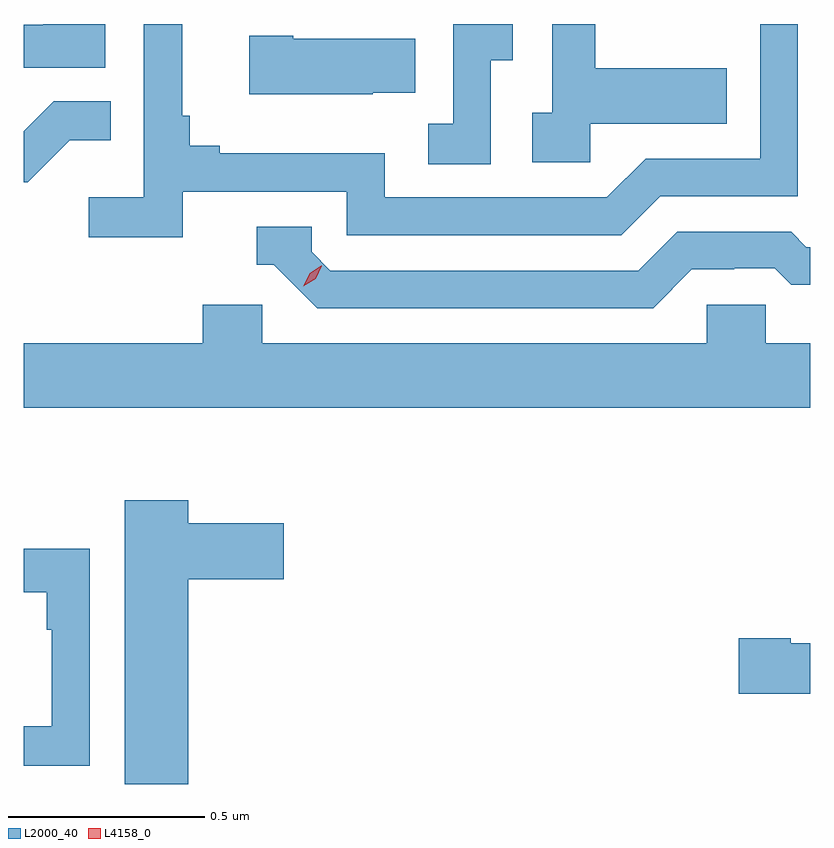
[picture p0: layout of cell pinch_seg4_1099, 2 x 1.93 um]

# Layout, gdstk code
import gdstk
lib = gdstk.Library(unit=1e-6, precision=1e-09)
def P(c, l, *ps):  # polygons
    for p in ps: c.add(gdstk.Polygon(p, *l))
L2000_40 = (2000, 40)
L4158_0 = (4158, 0)

pinch_seg4_1099 = lib.new_cell('pinch_seg4_1099')
P(pinch_seg4_1099, L2000_40, [(841.492,765.828),(841.334,765.828),(841.334,765.826),(841.284,765.826),(841.284,765.717),(841.492,765.717)],
  [(842.724,765.575),(843.071,765.575),(843.071,765.715),(842.737,765.715),(842.737,765.828),(842.628,765.828),(842.628,765.602),(842.577,765.602),(842.577,765.477),(842.724,765.477)],
  [(841.688,765.402),(842.106,765.402),(842.106,765.291),(842.803,765.291),(842.902,765.39),(843.252,765.39),(843.252,765.828),(843.156,765.828),(843.156,765.486),(842.865,765.486),(842.766,765.387),(842.202,765.387),(842.202,765.499),(841.783,765.499),(841.783,765.518),(841.706,765.518),(841.706,765.595),(841.687,765.595),(841.687,765.828),(841.59,765.828),(841.59,765.388),(841.449,765.388),(841.449,765.286),(841.688,765.286)],
  [(842.472,765.736),(842.527,765.736),(842.527,765.828),(842.376,765.828),(842.376,765.575),(842.313,765.575),(842.313,765.472),(842.472,765.472)],
  [(842.171,765.653),(842.279,765.653),(842.279,765.79),(841.969,765.79),(841.969,765.798),(841.857,765.798),(841.857,765.65),(842.171,765.65)],
  [(841.401,765.533),(841.505,765.533),(841.505,765.632),(841.361,765.632),(841.284,765.555),(841.284,765.426),(841.294,765.426)],
  [(842.983,765.204),(843.09,765.204),(843.09,765.207),(843.193,765.207),(843.235,765.165),(843.284,765.165),(843.284,765.261),(843.274,765.261),(843.235,765.3),(842.946,765.3),(842.847,765.201),(842.064,765.201),(842.016,765.249),(842.016,765.312),(841.877,765.312),(841.877,765.216),(841.92,765.216),(842.031,765.105),(842.884,765.105)],
  [(843.284,765.016),(843.171,765.016),(843.171,765.114),(843.021,765.114),(843.021,765.016),(841.89,765.016),(841.89,765.114),(841.739,765.114),(841.739,765.016),(841.284,765.016),(841.284,764.852),(843.284,764.852)],
  [(841.702,764.417),(841.945,764.417),(841.945,764.559),(841.702,764.559),(841.702,764.617),(841.541,764.617),(841.541,763.896),(841.702,763.896)],
  [(841.452,764.494),(841.284,764.494),(841.284,764.384),(841.343,764.384),(841.343,764.288),(841.356,764.288),(841.356,764.043),(841.284,764.043),(841.284,763.942),(841.452,763.942)],
  [(843.284,764.254),(843.234,764.254),(843.234,764.267),(843.102,764.267),(843.102,764.125),(843.284,764.125)])
P(pinch_seg4_1099, L4158_0, [(841.995,765.161),(841.995,765.161),(842.011,765.194),(842.041,765.214),(842.042,765.214),(842.042,765.213),(842.026,765.181),(841.995,765.161)])

lib.write_gds('pinch_seg4_1099.gds')
